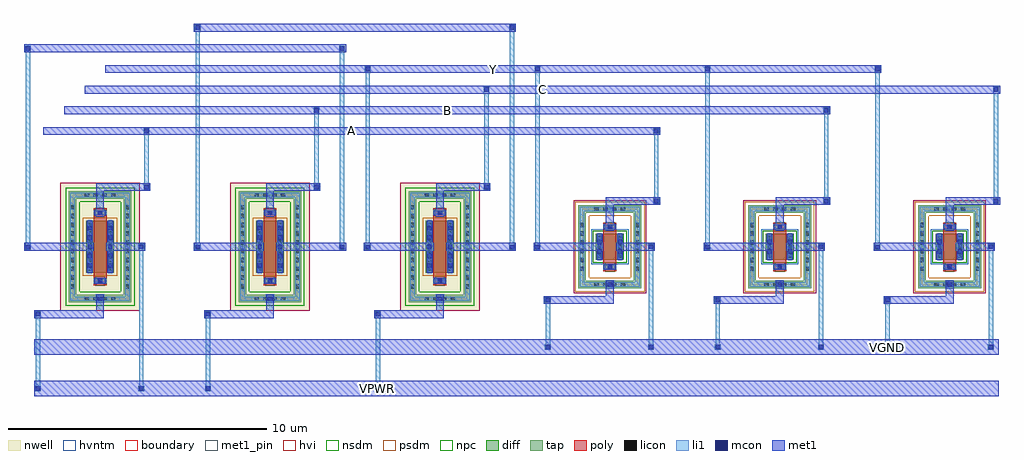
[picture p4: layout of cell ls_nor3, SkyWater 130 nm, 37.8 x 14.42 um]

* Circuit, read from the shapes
.subckt ls_nor3 A B C VGND VPWR Y
XM1 VGND A Y VGND sky130_fd_pr__nfet_g5v0d10v5 w=1 l=0.5
XM2 VGND B Y VGND sky130_fd_pr__nfet_g5v0d10v5 w=1 l=0.5
XM3 VGND C Y VGND sky130_fd_pr__nfet_g5v0d10v5 w=1 l=0.5
XM4 VPWR A ls_nor3_XMPA_5/D VPWR sky130_fd_pr__pfet_g5v0d10v5 w=2 l=0.5
XM5 ls_nor3_XMPA_5/D B ls_nor3_XMPB_4/D VPWR sky130_fd_pr__pfet_g5v0d10v5 w=2 l=0.5
XM6 ls_nor3_XMPB_4/D C Y VPWR sky130_fd_pr__pfet_g5v0d10v5 w=2 l=0.5
.ends

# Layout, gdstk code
import gdstk
lib = gdstk.Library(unit=1e-6, precision=1e-09)
def R(c, l, rs):  # rectangles x0, y0, x1, y1
    for r in rs: c.add(gdstk.rectangle(r[:2], r[2:], *l))
def A(c, l, x, y, w, h, nx, ny, dx, dy):  # array of equal rectangles
    R(c, l, [(x+i*dx, y+j*dy, x+i*dx+w, y+j*dy+h) for i in range(nx) for j in range(ny)])
nwell = (64, 20)
diff = (65, 20)
tap = (65, 44)
poly = (66, 20)
licon = (66, 44)
li1 = (67, 20)
mcon = (67, 44)
met1_pin = (68, 16)
met1 = (68, 20)
hvi = (75, 20)
nsdm = (93, 44)
psdm = (94, 20)
npc = (95, 20)
hvntm = (125, 20)
boundary = (235, 4)

ls_nor3_xmnc = lib.new_cell('ls_nor3_XMNC')
R(ls_nor3_xmnc, diff, [(-0.54,-0.5,0.54,0.5)])
R(ls_nor3_xmnc, tap, [(-1.22,-1.61,1.22,-1.32), (-1.22,-1.32,-0.93,1.32), (0.93,-1.32,1.22,1.32), (-1.22,1.32,1.22,1.61)])
R(ls_nor3_xmnc, poly, [(-0.25,-0.94,0.25,0.94)])
A(ls_nor3_xmnc, licon, -0.595, -1.55, 0.17, 0.17, 4, 2, 0.34, 2.93)
A(ls_nor3_xmnc, licon, -1.16, -0.935, 0.17, 0.17, 1, 6, 0, 0.34)
A(ls_nor3_xmnc, licon, 0.99, -0.935, 0.17, 0.17, 1, 6, 0, 0.34)
A(ls_nor3_xmnc, licon, -0.48, -0.425, 0.17, 0.17, 1, 3, 0, 0.34)
A(ls_nor3_xmnc, licon, 0.31, -0.425, 0.17, 0.17, 1, 3, 0, 0.34)
R(ls_nor3_xmnc, licon, [(-0.085,-0.86,0.085,-0.69), (-0.085,0.69,0.085,0.86)])
R(ls_nor3_xmnc, li1, [(-0.165,-1.63,0.165,-1.55), (-1.16,-1.55,1.16,-1.38), (-1.16,-1.38,-0.99,1.38), (-0.165,-1.38,0.165,-1.3), (0.99,-1.38,1.16,1.38), (-0.25,-0.86,0.25,-0.69), (-0.48,-0.52,-0.31,0.52), (0.31,-0.52,0.48,0.52), (-0.25,0.69,0.25,0.86), (-1.16,1.38,1.16,1.55)])
R(ls_nor3_xmnc, mcon, [(-0.085,-1.55,0.085,-1.38), (-0.085,-0.86,0.085,-0.69), (-0.48,-0.265,-0.31,-0.095), (0.31,-0.265,0.48,-0.095), (-0.48,0.095,-0.31,0.265), (0.31,0.095,0.48,0.265), (-0.085,0.69,0.085,0.86)])
R(ls_nor3_xmnc, met1, [(-0.15,-1.615,0.15,-1.315), (-0.23,-0.89,0.23,-0.66), (-0.51,-0.5,-0.28,0.5), (0.28,-0.5,0.51,0.5), (-0.23,0.66,0.23,0.89)])
R(ls_nor3_xmnc, hvi, [(-1.405,-1.795,1.405,1.795)])
R(ls_nor3_xmnc, nsdm, [(-0.665,-0.625,0.665,0.625)])
R(ls_nor3_xmnc, psdm, [(-1.345,-1.735,1.345,-1.195), (-1.345,-1.195,-0.805,1.195), (0.805,-1.195,1.345,1.195), (-1.345,1.195,1.345,1.735)])
R(ls_nor3_xmnc, npc, [(-0.185,-0.96,0.185,-0.59), (-0.185,0.59,0.185,0.96)])
R(ls_nor3_xmnc, hvntm, [(-0.725,-0.685,0.725,0.685)])
R(ls_nor3_xmnc, boundary, [(-1.075,-1.465,1.075,1.465)])
ls_nor3_xmnc.add(gdstk.Label('B', (0,-1.465), layer=67, texttype=5))
ls_nor3_xmnc.add(gdstk.Label('D', (-0.395,0), layer=67, texttype=5))
ls_nor3_xmnc.add(gdstk.Label('S', (0.395,0), layer=67, texttype=5))
ls_nor3_xmnc.add(gdstk.Label('G', (0,0.775), layer=67, texttype=5))

ls_nor3_xmnb = lib.new_cell('ls_nor3_XMNB')
R(ls_nor3_xmnb, diff, [(-0.54,-0.5,0.54,0.5)])
R(ls_nor3_xmnb, tap, [(-1.22,-1.61,1.22,-1.32), (-1.22,-1.32,-0.93,1.32), (0.93,-1.32,1.22,1.32), (-1.22,1.32,1.22,1.61)])
R(ls_nor3_xmnb, poly, [(-0.25,-0.94,0.25,0.94)])
A(ls_nor3_xmnb, licon, -0.595, -1.55, 0.17, 0.17, 4, 2, 0.34, 2.93)
A(ls_nor3_xmnb, licon, -1.16, -0.935, 0.17, 0.17, 1, 6, 0, 0.34)
A(ls_nor3_xmnb, licon, 0.99, -0.935, 0.17, 0.17, 1, 6, 0, 0.34)
A(ls_nor3_xmnb, licon, -0.48, -0.425, 0.17, 0.17, 1, 3, 0, 0.34)
A(ls_nor3_xmnb, licon, 0.31, -0.425, 0.17, 0.17, 1, 3, 0, 0.34)
R(ls_nor3_xmnb, licon, [(-0.085,-0.86,0.085,-0.69), (-0.085,0.69,0.085,0.86)])
R(ls_nor3_xmnb, li1, [(-0.165,-1.63,0.165,-1.55), (-1.16,-1.55,1.16,-1.38), (-1.16,-1.38,-0.99,1.38), (-0.165,-1.38,0.165,-1.3), (0.99,-1.38,1.16,1.38), (-0.25,-0.86,0.25,-0.69), (-0.48,-0.52,-0.31,0.52), (0.31,-0.52,0.48,0.52), (-0.25,0.69,0.25,0.86), (-1.16,1.38,1.16,1.55)])
R(ls_nor3_xmnb, mcon, [(-0.085,-1.55,0.085,-1.38), (-0.085,-0.86,0.085,-0.69), (-0.48,-0.265,-0.31,-0.095), (0.31,-0.265,0.48,-0.095), (-0.48,0.095,-0.31,0.265), (0.31,0.095,0.48,0.265), (-0.085,0.69,0.085,0.86)])
R(ls_nor3_xmnb, met1, [(-0.15,-1.615,0.15,-1.315), (-0.23,-0.89,0.23,-0.66), (-0.51,-0.5,-0.28,0.5), (0.28,-0.5,0.51,0.5), (-0.23,0.66,0.23,0.89)])
R(ls_nor3_xmnb, hvi, [(-1.405,-1.795,1.405,1.795)])
R(ls_nor3_xmnb, nsdm, [(-0.665,-0.625,0.665,0.625)])
R(ls_nor3_xmnb, psdm, [(-1.345,-1.735,1.345,-1.195), (-1.345,-1.195,-0.805,1.195), (0.805,-1.195,1.345,1.195), (-1.345,1.195,1.345,1.735)])
R(ls_nor3_xmnb, npc, [(-0.185,-0.96,0.185,-0.59), (-0.185,0.59,0.185,0.96)])
R(ls_nor3_xmnb, hvntm, [(-0.725,-0.685,0.725,0.685)])
R(ls_nor3_xmnb, boundary, [(-1.075,-1.465,1.075,1.465)])
ls_nor3_xmnb.add(gdstk.Label('B', (0,-1.465), layer=67, texttype=5))
ls_nor3_xmnb.add(gdstk.Label('D', (-0.395,0), layer=67, texttype=5))
ls_nor3_xmnb.add(gdstk.Label('S', (0.395,0), layer=67, texttype=5))
ls_nor3_xmnb.add(gdstk.Label('G', (0,0.775), layer=67, texttype=5))

ls_nor3_xmna = lib.new_cell('ls_nor3_XMNA')
R(ls_nor3_xmna, diff, [(-0.54,-0.5,0.54,0.5)])
R(ls_nor3_xmna, tap, [(-1.22,-1.61,1.22,-1.32), (-1.22,-1.32,-0.93,1.32), (0.93,-1.32,1.22,1.32), (-1.22,1.32,1.22,1.61)])
R(ls_nor3_xmna, poly, [(-0.25,-0.94,0.25,0.94)])
A(ls_nor3_xmna, licon, -0.595, -1.55, 0.17, 0.17, 4, 2, 0.34, 2.93)
A(ls_nor3_xmna, licon, -1.16, -0.935, 0.17, 0.17, 1, 6, 0, 0.34)
A(ls_nor3_xmna, licon, 0.99, -0.935, 0.17, 0.17, 1, 6, 0, 0.34)
A(ls_nor3_xmna, licon, -0.48, -0.425, 0.17, 0.17, 1, 3, 0, 0.34)
A(ls_nor3_xmna, licon, 0.31, -0.425, 0.17, 0.17, 1, 3, 0, 0.34)
R(ls_nor3_xmna, licon, [(-0.085,-0.86,0.085,-0.69), (-0.085,0.69,0.085,0.86)])
R(ls_nor3_xmna, li1, [(-0.165,-1.63,0.165,-1.55), (-1.16,-1.55,1.16,-1.38), (-1.16,-1.38,-0.99,1.38), (-0.165,-1.38,0.165,-1.3), (0.99,-1.38,1.16,1.38), (-0.25,-0.86,0.25,-0.69), (-0.48,-0.52,-0.31,0.52), (0.31,-0.52,0.48,0.52), (-0.25,0.69,0.25,0.86), (-1.16,1.38,1.16,1.55)])
R(ls_nor3_xmna, mcon, [(-0.085,-1.55,0.085,-1.38), (-0.085,-0.86,0.085,-0.69), (-0.48,-0.265,-0.31,-0.095), (0.31,-0.265,0.48,-0.095), (-0.48,0.095,-0.31,0.265), (0.31,0.095,0.48,0.265), (-0.085,0.69,0.085,0.86)])
R(ls_nor3_xmna, met1, [(-0.15,-1.615,0.15,-1.315), (-0.23,-0.89,0.23,-0.66), (-0.51,-0.5,-0.28,0.5), (0.28,-0.5,0.51,0.5), (-0.23,0.66,0.23,0.89)])
R(ls_nor3_xmna, hvi, [(-1.405,-1.795,1.405,1.795)])
R(ls_nor3_xmna, nsdm, [(-0.665,-0.625,0.665,0.625)])
R(ls_nor3_xmna, psdm, [(-1.345,-1.735,1.345,-1.195), (-1.345,-1.195,-0.805,1.195), (0.805,-1.195,1.345,1.195), (-1.345,1.195,1.345,1.735)])
R(ls_nor3_xmna, npc, [(-0.185,-0.96,0.185,-0.59), (-0.185,0.59,0.185,0.96)])
R(ls_nor3_xmna, hvntm, [(-0.725,-0.685,0.725,0.685)])
R(ls_nor3_xmna, boundary, [(-1.075,-1.465,1.075,1.465)])
ls_nor3_xmna.add(gdstk.Label('B', (0,-1.465), layer=67, texttype=5))
ls_nor3_xmna.add(gdstk.Label('D', (-0.395,0), layer=67, texttype=5))
ls_nor3_xmna.add(gdstk.Label('S', (0.395,0), layer=67, texttype=5))
ls_nor3_xmna.add(gdstk.Label('G', (0,0.775), layer=67, texttype=5))

ls_nor3_xmpc = lib.new_cell('ls_nor3_XMPC')
R(ls_nor3_xmpc, nwell, [(-1.54,-2.485,1.54,2.485)])
R(ls_nor3_xmpc, diff, [(-0.54,-1,0.54,1)])
R(ls_nor3_xmpc, tap, [(-1.21,-2.155,1.21,-1.865), (-1.21,-1.865,-0.92,1.865), (0.92,-1.865,1.21,1.865), (-1.21,1.865,1.21,2.155)])
R(ls_nor3_xmpc, poly, [(-0.25,-1.485,0.25,1.485)])
A(ls_nor3_xmpc, licon, -0.595, -2.095, 0.17, 0.17, 4, 2, 0.34, 4.02)
A(ls_nor3_xmpc, licon, -1.15, -1.615, 0.17, 0.17, 1, 10, 0, 0.34)
A(ls_nor3_xmpc, licon, 0.98, -1.615, 0.17, 0.17, 1, 10, 0, 0.34)
A(ls_nor3_xmpc, licon, -0.48, -0.935, 0.17, 0.17, 1, 6, 0, 0.34)
A(ls_nor3_xmpc, licon, 0.31, -0.935, 0.17, 0.17, 1, 6, 0, 0.34)
R(ls_nor3_xmpc, licon, [(-0.085,-1.405,0.085,-1.235), (-0.085,1.235,0.085,1.405)])
R(ls_nor3_xmpc, li1, [(-0.165,-2.175,0.165,-2.095), (-1.15,-2.095,1.15,-1.925), (-1.15,-1.925,-0.98,1.925), (-0.165,-1.925,0.165,-1.845), (0.98,-1.925,1.15,1.925), (-0.25,-1.405,0.25,-1.235), (-0.48,-1.02,-0.31,1.02), (0.31,-1.02,0.48,1.02), (-0.25,1.235,0.25,1.405), (-1.15,1.925,1.15,2.095)])
A(ls_nor3_xmpc, mcon, -0.48, -0.805, 0.17, 0.17, 1, 5, 0, 0.36)
A(ls_nor3_xmpc, mcon, 0.31, -0.805, 0.17, 0.17, 1, 5, 0, 0.36)
R(ls_nor3_xmpc, mcon, [(-0.085,-2.095,0.085,-1.925), (-0.085,-1.405,0.085,-1.235), (-0.085,1.235,0.085,1.405)])
R(ls_nor3_xmpc, met1, [(-0.15,-2.16,0.15,-1.86), (-0.23,-1.435,0.23,-1.205), (-0.51,-1,-0.28,1), (0.28,-1,0.51,1), (-0.23,1.205,0.23,1.435)])
R(ls_nor3_xmpc, hvi, [(-1.54,-2.485,1.54,2.485)])
R(ls_nor3_xmpc, nsdm, [(-1.335,-2.28,1.335,-1.74), (-1.335,-1.74,-0.795,1.74), (0.795,-1.74,1.335,1.74), (-1.335,1.74,1.335,2.28)])
R(ls_nor3_xmpc, psdm, [(-0.665,-1.125,0.665,1.125)])
R(ls_nor3_xmpc, npc, [(-0.185,-1.505,0.185,-1.135), (-0.185,1.135,0.185,1.505)])
R(ls_nor3_xmpc, boundary, [(-1.065,-2.01,1.065,2.01)])
ls_nor3_xmpc.add(gdstk.Label('B', (0,-2.01), layer=67, texttype=5))
ls_nor3_xmpc.add(gdstk.Label('D', (-0.395,0), layer=67, texttype=5))
ls_nor3_xmpc.add(gdstk.Label('S', (0.395,0), layer=67, texttype=5))
ls_nor3_xmpc.add(gdstk.Label('G', (0,1.32), layer=67, texttype=5))

ls_nor3_xmpb = lib.new_cell('ls_nor3_XMPB')
R(ls_nor3_xmpb, nwell, [(-1.54,-2.485,1.54,2.485)])
R(ls_nor3_xmpb, diff, [(-0.54,-1,0.54,1)])
R(ls_nor3_xmpb, tap, [(-1.21,-2.155,1.21,-1.865), (-1.21,-1.865,-0.92,1.865), (0.92,-1.865,1.21,1.865), (-1.21,1.865,1.21,2.155)])
R(ls_nor3_xmpb, poly, [(-0.25,-1.485,0.25,1.485)])
A(ls_nor3_xmpb, licon, -0.595, -2.095, 0.17, 0.17, 4, 2, 0.34, 4.02)
A(ls_nor3_xmpb, licon, -1.15, -1.615, 0.17, 0.17, 1, 10, 0, 0.34)
A(ls_nor3_xmpb, licon, 0.98, -1.615, 0.17, 0.17, 1, 10, 0, 0.34)
A(ls_nor3_xmpb, licon, -0.48, -0.935, 0.17, 0.17, 1, 6, 0, 0.34)
A(ls_nor3_xmpb, licon, 0.31, -0.935, 0.17, 0.17, 1, 6, 0, 0.34)
R(ls_nor3_xmpb, licon, [(-0.085,-1.405,0.085,-1.235), (-0.085,1.235,0.085,1.405)])
R(ls_nor3_xmpb, li1, [(-0.165,-2.175,0.165,-2.095), (-1.15,-2.095,1.15,-1.925), (-1.15,-1.925,-0.98,1.925), (-0.165,-1.925,0.165,-1.845), (0.98,-1.925,1.15,1.925), (-0.25,-1.405,0.25,-1.235), (-0.48,-1.02,-0.31,1.02), (0.31,-1.02,0.48,1.02), (-0.25,1.235,0.25,1.405), (-1.15,1.925,1.15,2.095)])
A(ls_nor3_xmpb, mcon, -0.48, -0.805, 0.17, 0.17, 1, 5, 0, 0.36)
A(ls_nor3_xmpb, mcon, 0.31, -0.805, 0.17, 0.17, 1, 5, 0, 0.36)
R(ls_nor3_xmpb, mcon, [(-0.085,-2.095,0.085,-1.925), (-0.085,-1.405,0.085,-1.235), (-0.085,1.235,0.085,1.405)])
R(ls_nor3_xmpb, met1, [(-0.15,-2.16,0.15,-1.86), (-0.23,-1.435,0.23,-1.205), (-0.51,-1,-0.28,1), (0.28,-1,0.51,1), (-0.23,1.205,0.23,1.435)])
R(ls_nor3_xmpb, hvi, [(-1.54,-2.485,1.54,2.485)])
R(ls_nor3_xmpb, nsdm, [(-1.335,-2.28,1.335,-1.74), (-1.335,-1.74,-0.795,1.74), (0.795,-1.74,1.335,1.74), (-1.335,1.74,1.335,2.28)])
R(ls_nor3_xmpb, psdm, [(-0.665,-1.125,0.665,1.125)])
R(ls_nor3_xmpb, npc, [(-0.185,-1.505,0.185,-1.135), (-0.185,1.135,0.185,1.505)])
R(ls_nor3_xmpb, boundary, [(-1.065,-2.01,1.065,2.01)])
ls_nor3_xmpb.add(gdstk.Label('B', (0,-2.01), layer=67, texttype=5))
ls_nor3_xmpb.add(gdstk.Label('D', (-0.395,0), layer=67, texttype=5))
ls_nor3_xmpb.add(gdstk.Label('S', (0.395,0), layer=67, texttype=5))
ls_nor3_xmpb.add(gdstk.Label('G', (0,1.32), layer=67, texttype=5))

ls_nor3_xmpa = lib.new_cell('ls_nor3_XMPA')
R(ls_nor3_xmpa, nwell, [(-1.54,-2.485,1.54,2.485)])
R(ls_nor3_xmpa, diff, [(-0.54,-1,0.54,1)])
R(ls_nor3_xmpa, tap, [(-1.21,-2.155,1.21,-1.865), (-1.21,-1.865,-0.92,1.865), (0.92,-1.865,1.21,1.865), (-1.21,1.865,1.21,2.155)])
R(ls_nor3_xmpa, poly, [(-0.25,-1.485,0.25,1.485)])
A(ls_nor3_xmpa, licon, -0.595, -2.095, 0.17, 0.17, 4, 2, 0.34, 4.02)
A(ls_nor3_xmpa, licon, -1.15, -1.615, 0.17, 0.17, 1, 10, 0, 0.34)
A(ls_nor3_xmpa, licon, 0.98, -1.615, 0.17, 0.17, 1, 10, 0, 0.34)
A(ls_nor3_xmpa, licon, -0.48, -0.935, 0.17, 0.17, 1, 6, 0, 0.34)
A(ls_nor3_xmpa, licon, 0.31, -0.935, 0.17, 0.17, 1, 6, 0, 0.34)
R(ls_nor3_xmpa, licon, [(-0.085,-1.405,0.085,-1.235), (-0.085,1.235,0.085,1.405)])
R(ls_nor3_xmpa, li1, [(-0.165,-2.175,0.165,-2.095), (-1.15,-2.095,1.15,-1.925), (-1.15,-1.925,-0.98,1.925), (-0.165,-1.925,0.165,-1.845), (0.98,-1.925,1.15,1.925), (-0.25,-1.405,0.25,-1.235), (-0.48,-1.02,-0.31,1.02), (0.31,-1.02,0.48,1.02), (-0.25,1.235,0.25,1.405), (-1.15,1.925,1.15,2.095)])
A(ls_nor3_xmpa, mcon, -0.48, -0.805, 0.17, 0.17, 1, 5, 0, 0.36)
A(ls_nor3_xmpa, mcon, 0.31, -0.805, 0.17, 0.17, 1, 5, 0, 0.36)
R(ls_nor3_xmpa, mcon, [(-0.085,-2.095,0.085,-1.925), (-0.085,-1.405,0.085,-1.235), (-0.085,1.235,0.085,1.405)])
R(ls_nor3_xmpa, met1, [(-0.15,-2.16,0.15,-1.86), (-0.23,-1.435,0.23,-1.205), (-0.51,-1,-0.28,1), (0.28,-1,0.51,1), (-0.23,1.205,0.23,1.435)])
R(ls_nor3_xmpa, hvi, [(-1.54,-2.485,1.54,2.485)])
R(ls_nor3_xmpa, nsdm, [(-1.335,-2.28,1.335,-1.74), (-1.335,-1.74,-0.795,1.74), (0.795,-1.74,1.335,1.74), (-1.335,1.74,1.335,2.28)])
R(ls_nor3_xmpa, psdm, [(-0.665,-1.125,0.665,1.125)])
R(ls_nor3_xmpa, npc, [(-0.185,-1.505,0.185,-1.135), (-0.185,1.135,0.185,1.505)])
R(ls_nor3_xmpa, boundary, [(-1.065,-2.01,1.065,2.01)])
ls_nor3_xmpa.add(gdstk.Label('B', (0,-2.01), layer=67, texttype=5))
ls_nor3_xmpa.add(gdstk.Label('D', (-0.395,0), layer=67, texttype=5))
ls_nor3_xmpa.add(gdstk.Label('S', (0.395,0), layer=67, texttype=5))
ls_nor3_xmpa.add(gdstk.Label('G', (0,1.32), layer=67, texttype=5))

ls_nor3 = lib.new_cell('ls_nor3')
A(ls_nor3, li1, 0.555, 1.11, 0.17, 2.655, 3, 1, 6.58, 0)
A(ls_nor3, li1, 20.295, 2.71, 0.17, 1.6, 3, 1, 6.58, 0)
A(ls_nor3, li1, 24.29, 2.71, 0.17, 3.665, 3, 1, 6.58, 0)
A(ls_nor3, li1, 0.53, 3.765, 0.22, 0.22, 3, 1, 6.58, 0)
A(ls_nor3, li1, 20.27, 4.31, 0.22, 0.22, 3, 1, 6.58, 0)
A(ls_nor3, li1, 13.32, 6.595, 0.17, 6.665, 4, 1, 6.58, 0)
A(ls_nor3, li1, 24.47, 8.15, 0.22, 0.22, 3, 1, 6.58, 0)
A(ls_nor3, li1, 4.73, 8.695, 0.22, 0.22, 3, 1, 6.58, 0)
A(ls_nor3, li1, 13.295, 13.26, 0.22, 0.22, 4, 1, 6.58, 0)
R(ls_nor3, li1, [(0.53,0.89,0.75,1.11), (4.525,0.89,4.745,1.11), (7.11,0.89,7.33,1.11), (13.69,0.89,13.91,1.11), (4.55,1.11,4.72,6.375), (20.27,2.49,20.49,2.71), (24.265,2.49,24.485,2.71), (26.85,2.49,27.07,2.71), (30.845,2.49,31.065,2.71), (33.43,2.49,33.65,2.71), (37.425,2.49,37.645,2.71), (0.135,6.375,0.355,6.595), (4.525,6.375,4.745,6.595), (6.715,6.375,6.935,6.595), (12.305,6.375,12.525,6.595), (13.295,6.375,13.515,6.595), (18.885,6.375,19.105,6.595), (19.875,6.375,20.095,6.595), (24.265,6.375,24.485,6.595), (26.455,6.375,26.675,6.595), (30.845,6.375,31.065,6.595), (33.035,6.375,33.255,6.595), (37.425,6.375,37.645,6.595), (0.16,6.595,0.33,14.06), (6.74,6.595,6.91,14.86), (12.33,6.595,12.5,14.06), (18.91,6.595,19.08,14.86), (24.495,8.37,24.665,10.86), (31.075,8.37,31.245,11.66), (37.655,8.37,37.825,12.46), (4.755,8.915,4.925,10.86), (11.335,8.915,11.505,11.66), (17.915,8.915,18.085,12.46), (4.73,10.86,4.95,11.08), (24.47,10.86,24.69,11.08), (11.31,11.66,11.53,11.88), (31.05,11.66,31.27,11.88), (17.89,12.46,18.11,12.68), (37.63,12.46,37.85,12.68), (0.135,14.06,0.355,14.28), (12.305,14.06,12.525,14.28), (6.715,14.86,6.935,15.08), (18.885,14.86,19.105,15.08)])
A(ls_nor3, mcon, 0.555, 3.79, 0.17, 0.17, 3, 1, 6.58, 0)
A(ls_nor3, mcon, 20.295, 4.335, 0.17, 0.17, 3, 1, 6.58, 0)
A(ls_nor3, mcon, 24.495, 8.175, 0.17, 0.17, 3, 1, 6.58, 0)
A(ls_nor3, mcon, 4.755, 8.72, 0.17, 0.17, 3, 1, 6.58, 0)
A(ls_nor3, mcon, 13.32, 13.285, 0.17, 0.17, 4, 1, 6.58, 0)
R(ls_nor3, mcon, [(0.555,0.915,0.725,1.085), (4.55,0.915,4.72,1.085), (7.135,0.915,7.305,1.085), (13.715,0.915,13.885,1.085), (20.295,2.515,20.465,2.685), (24.29,2.515,24.46,2.685), (26.875,2.515,27.045,2.685), (30.87,2.515,31.04,2.685), (33.455,2.515,33.625,2.685), (37.45,2.515,37.62,2.685), (0.16,6.4,0.33,6.57), (4.55,6.4,4.72,6.57), (6.74,6.4,6.91,6.57), (12.33,6.4,12.5,6.57), (13.32,6.4,13.49,6.57), (18.91,6.4,19.08,6.57), (19.9,6.4,20.07,6.57), (24.29,6.4,24.46,6.57), (26.48,6.4,26.65,6.57), (30.87,6.4,31.04,6.57), (33.06,6.4,33.23,6.57), (37.45,6.4,37.62,6.57), (4.755,10.885,4.925,11.055), (24.495,10.885,24.665,11.055), (11.335,11.685,11.505,11.855), (31.075,11.685,31.245,11.855), (17.915,12.485,18.085,12.655), (37.655,12.485,37.825,12.655), (0.16,14.085,0.33,14.255), (12.33,14.085,12.5,14.255), (6.74,14.885,6.91,15.055), (18.91,14.885,19.08,15.055)])
R(ls_nor3, met1_pin, [(13.65,0.85,13.95,1.15), (33.39,2.45,33.69,2.75), (0.85,10.82,24.73,11.12), (1.65,11.62,31.31,11.92), (2.45,12.42,37.89,12.72), (3.25,13.22,33.295,13.52)])
A(ls_nor3, met1, 0.49, 3.725, 2.7, 0.3, 3, 1, 6.58, 0)
A(ls_nor3, met1, 2.89, 4.025, 0.3, 0.6, 3, 1, 6.58, 0)
A(ls_nor3, met1, 20.23, 4.27, 2.7, 0.3, 3, 1, 6.58, 0)
A(ls_nor3, met1, 22.63, 4.57, 0.3, 0.6, 3, 1, 6.58, 0)
A(ls_nor3, met1, 19.835, 6.335, 2.7, 0.3, 3, 1, 6.58, 0)
A(ls_nor3, met1, 23.025, 6.335, 1.5, 0.3, 3, 1, 6.58, 0)
A(ls_nor3, met1, 22.63, 7.11, 0.3, 1, 3, 1, 6.58, 0)
A(ls_nor3, met1, 2.89, 7.655, 0.3, 1, 3, 1, 6.58, 0)
A(ls_nor3, met1, 22.63, 8.11, 2.1, 0.3, 3, 1, 6.58, 0)
A(ls_nor3, met1, 2.89, 8.655, 2.1, 0.3, 3, 1, 6.58, 0)
R(ls_nor3, met1, [(0.5,0.7,37.84,0.85), (0.49,0.85,37.84,1.15), (0.5,1.15,37.84,1.3), (0.5,2.3,37.84,2.9), (0.095,6.335,2.795,6.635), (3.285,6.335,4.785,6.635), (6.675,6.335,9.375,6.635), (9.865,6.335,12.565,6.635), (13.255,6.335,15.955,6.635), (16.445,6.335,19.145,6.635), (0.85,10.82,24.73,11.12), (1.65,11.62,31.31,11.92), (2.45,12.42,37.89,12.72), (3.25,13.22,33.295,13.52), (0.095,14.02,12.565,14.32), (6.675,14.82,19.145,15.12)])
ls_nor3.add(gdstk.Reference(ls_nor3_xmnc, (35.94,6.485)))
ls_nor3.add(gdstk.Reference(ls_nor3_xmnb, (29.36,6.485)))
ls_nor3.add(gdstk.Reference(ls_nor3_xmna, (22.78,6.485)))
ls_nor3.add(gdstk.Reference(ls_nor3_xmpc, (16.2,6.485)))
ls_nor3.add(gdstk.Reference(ls_nor3_xmpb, (9.62,6.485)))
ls_nor3.add(gdstk.Reference(ls_nor3_xmpa, (3.04,6.485)))
ls_nor3.add(gdstk.Label('VPWR', (13.8,1), layer=68, texttype=5))
ls_nor3.add(gdstk.Label('VGND', (33.54,2.6), layer=68, texttype=5))
ls_nor3.add(gdstk.Label('A', (12.79,10.97), layer=68, texttype=5))
ls_nor3.add(gdstk.Label('B', (16.48,11.77), layer=68, texttype=5))
ls_nor3.add(gdstk.Label('C', (20.17,12.57), layer=68, texttype=5))
ls_nor3.add(gdstk.Label('Y', (18.272,13.37), layer=68, texttype=5))

lib.write_gds('ls_nor3.gds')
